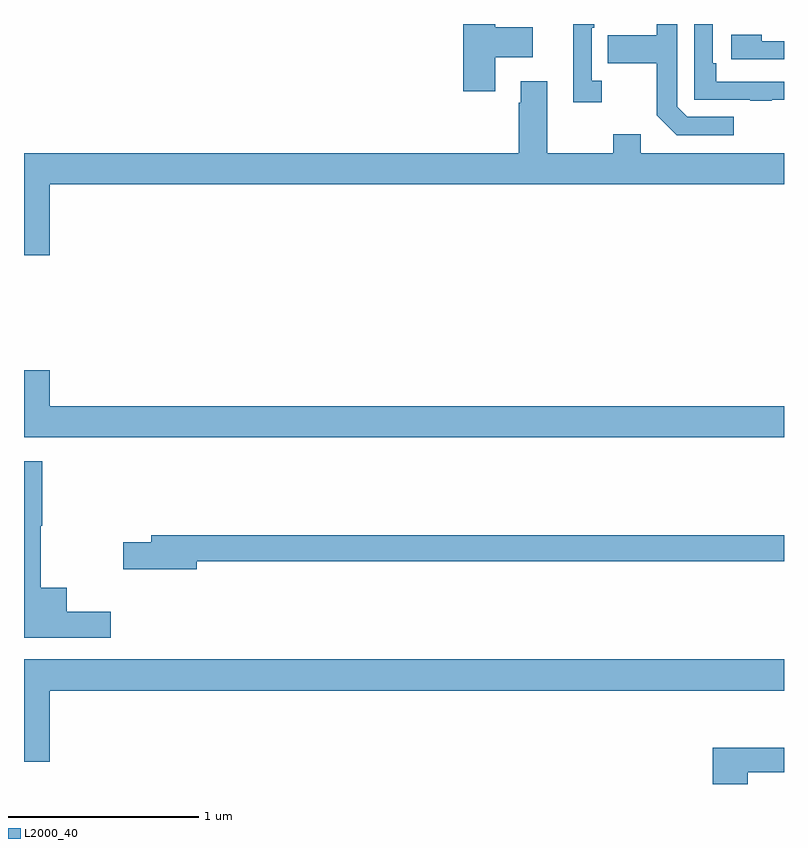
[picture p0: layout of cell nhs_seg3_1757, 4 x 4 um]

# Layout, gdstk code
import gdstk
lib = gdstk.Library(unit=1e-6, precision=1e-09)
def P(c, l, *ps):  # polygons
    for p in ps: c.add(gdstk.Polygon(p, *l))
L2000_40 = (2000, 40)

nhs_seg3_1757 = lib.new_cell('nhs_seg3_1757')
P(nhs_seg3_1757, L2000_40, [(204.04,728.102),(203.988,728.102),(203.988,728.381),(204.001,728.381),(204.001,728.4),(203.891,728.4),(203.891,727.989),(204.04,727.989)],
  [(203.479,728.225),(203.677,728.225),(203.677,728.383),(203.479,728.383),(203.479,728.4),(203.312,728.4),(203.312,728.046),(203.479,728.046)],
  [(204.736,727.911),(204.492,727.911),(204.438,727.965),(204.438,728.4),(204.33,728.4),(204.33,728.341),(204.073,728.341),(204.073,728.194),(204.33,728.194),(204.33,727.921),(204.435,727.815),(204.736,727.815)],
  [(204.935,728.001),(205,728.001),(205,728.097),(204.644,728.097),(204.644,728.194),(204.624,728.194),(204.624,728.4),(204.528,728.4),(204.528,728.001),(204.823,728.001),(204.823,727.996),(204.935,727.996)],
  [(205,728.31),(204.884,728.31),(204.884,728.344),(204.723,728.344),(204.723,728.214),(205,728.214)],
  [(201,727.182),(201.136,727.182),(201.136,727.556),(205,727.556),(205,727.72),(204.247,727.72),(204.247,727.819),(204.1,727.819),(204.1,727.72),(203.755,727.72),(203.755,728.098),(203.615,728.098),(203.615,727.985),(203.603,727.985),(203.603,727.72),(201,727.72)],
  [(205,726.388),(201.136,726.388),(201.136,726.577),(201,726.577),(201,726.224),(205,726.224)],
  [(201.457,725.306),(201.226,725.306),(201.226,725.434),(201.089,725.434),(201.089,725.759),(201.097,725.759),(201.097,726.1),(201,726.1),(201,725.171),(201.457,725.171)],
  [(201.91,725.572),(205,725.572),(205,725.708),(201.671,725.708),(201.671,725.672),(201.522,725.672),(201.522,725.53),(201.91,725.53)],
  [(201.136,724.892),(205,724.892),(205,725.056),(201,725.056),(201,724.518),(201.136,724.518)],
  [(204.809,724.462),(205,724.462),(205,724.591),(204.626,724.591),(204.626,724.4),(204.809,724.4)])

lib.write_gds('nhs_seg3_1757.gds')
